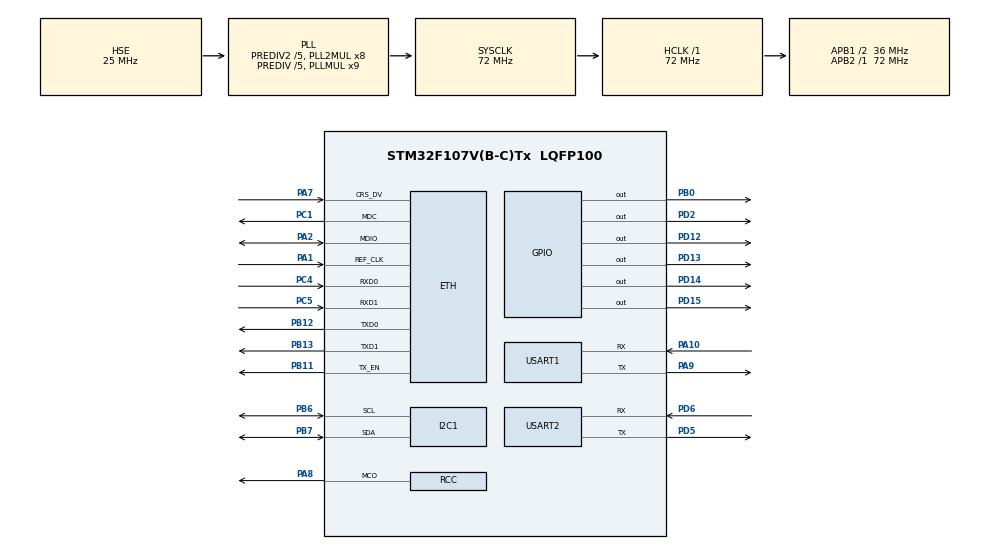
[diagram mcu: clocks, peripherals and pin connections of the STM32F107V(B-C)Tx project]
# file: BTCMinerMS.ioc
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ETH.MediaInterface=ETH_MEDIA_INTERFACE_RMII
Mcu.Family=STM32F1
Mcu.Name=STM32F107V(B-C)Tx
Mcu.Package=LQFP100
NVIC.PriorityGroup=NVIC_PRIORITYGROUP_4
OSC_IN.Mode=HSE-External-Oscillator
OSC_IN.Signal=RCC_OSC_IN
OSC_OUT.Mode=HSE-External-Oscillator
OSC_OUT.Signal=RCC_OSC_OUT
PA1.Mode=RMII
PA1.Signal=ETH_REF_CLK
PA10.Mode=Asynchronous
PA10.Signal=USART1_RX
PA13.Mode=Serial_Wire
PA13.Signal=SYS_JTMS-SWDIO
PA14.Mode=Serial_Wire
PA14.Signal=SYS_JTCK-SWCLK
PA2.Mode=RMII
PA2.Signal=ETH_MDIO
PA8.Mode=Clock-out
PA8.Signal=RCC_MCO
PA9.Mode=Asynchronous
PA9.Signal=USART1_TX
PB0.Signal=GPIO_Output
PB11.Mode=RMII
PB11.Signal=ETH_TX_EN
PB12.Mode=RMII
PB12.Signal=ETH_TXD0
PB13.Mode=RMII
PB13.Signal=ETH_TXD1
PB6.Mode=I2C
PB6.Signal=I2C1_SCL
PB7.Mode=I2C
PB7.Signal=I2C1_SDA
PC1.Mode=RMII
PC1.Signal=ETH_MDC
PC14-OSC32_IN.Mode=LSE-External-Oscillator
PC14-OSC32_IN.Signal=RCC_OSC32_IN
PC15-OSC32_OUT.Mode=LSE-External-Oscillator
PC15-OSC32_OUT.Signal=RCC_OSC32_OUT
PA7.Mode=RMII
PA7.Signal=ETH_CRS_DV
PD12.Signal=GPIO_Output
PD13.Signal=GPIO_Output
PD14.Signal=GPIO_Output
PD15.Signal=GPIO_Output
PD2.Signal=GPIO_Output
PD5.Mode=Asynchronous
PD5.Signal=USART2_TX
PD6.Mode=Asynchronous
PD6.Signal=USART2_RX
PC4.Mode=RMII
PC4.Signal=ETH_RXD0
PC5.Mode=RMII
PC5.Signal=ETH_RXD1
ProjectManager.HeapSize=0x200
ProjectManager.StackSize=0x400
ProjectManager.TargetToolchain=MDK-ARM V5
RCC.AHBFreq_Value=72000000
RCC.APB1CLKDivider=RCC_HCLK_DIV2
RCC.APB1Freq_Value=36000000
RCC.APB1TimFreq_Value=72000000
RCC.APB2Freq_Value=72000000
RCC.APB2TimFreq_Value=72000000
RCC.HCLKFreq_Value=72000000
RCC.HSEDivPLL=RCC_HSE_PREDIV_DIV5
RCC.HSE_VALUE=25000000
RCC.PLL3Mul=RCC_PLLI2S_MUL10
RCC.PLLMUL=RCC_PLL_MUL9
RCC.PLLSourceVirtual=RCC_PLLSOURCE_HSE
RCC.Prediv1Source=RCC_PREDIV1_SOURCE_PLL2
RCC.Prediv2=RCC_HSE_PREDIV2_DIV5
RCC.RCC_MCOSource=RCC_MCO1SOURCE_PLL3CLK
RCC.SYSCLKFreq_VALUE=72000000
RCC.SYSCLKSource=RCC_SYSCLKSOURCE_PLLCLK
RCC.USBFreq_Value=48000000
USART1.VirtualMode=VM_ASYNC
USART2.VirtualMode=VM_ASYNC
board=custom

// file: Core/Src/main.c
/* USER CODE BEGIN Header */
/**
  ******************************************************************************
  * @file           : main.c
  * @brief          : Main program body
  ******************************************************************************
  */
/* USER CODE END Header */
#include "main.h"

/* USER CODE BEGIN Includes */
#include "bm1366.h"
#include "protocol.h"
#include "eth_drv.h"
#include "eth_netif.h"
#include "lwip_eth.h"
#include "debug_serial.h"
#include "Delay.h"
#include "tps546d24a.h"
#include "tmp1075.h"
#include <string.h>
#include <stdio.h>
/* USER CODE END Includes */

/* USER CODE BEGIN PD */
#define STATUS_LED_PIN   GPIO_PIN_13
#define STATUS_LED_PORT  GPIOC
#define ASIC_BOOT_PIN    GPIO_PIN_1
#define ASIC_BOOT_PORT   GPIOB
#define ASIC_CTRL_PIN    GPIO_PIN_14
#define ASIC_CTRL_PORT   GPIOB

/* USER CODE END PD */

ETH_HandleTypeDef heth;

I2C_HandleTypeDef hi2c1;

UART_HandleTypeDef huart1;
UART_HandleTypeDef huart2;

/* USER CODE BEGIN PV */

/* ===== Application Config (edit to match your network) ===== */
/* MAC: last 3 bytes are derived at runtime from the board UID (see main()),
   so every board gets a unique MAC for multi-board deployments. The values
   below are just the initial placeholder, overwritten before eth_init(). */
#define CFG_MAC0   0x02   /* locally administered, unicast */
#define CFG_MAC1   0x08
#define CFG_MAC2   0xDC
#define CFG_MAC3   0xAB
#define CFG_MAC4   0xCD
#define CFG_MAC5   0xEF

/* IPv4 address/g+ateway/netmask are obtained via DHCP at runtime
   (see eth_drv.c eth_init -> dhcp_start). The board's own IP is no
   longer statically configured. */

#define CFG_LOCAL_PORT   6000

/* Host PC running BTCMinerControl (HostServices board listener on PC_PORT).
   Board's own IP is obtained via DHCP, so only the server address is static. */
#define PC_IP0     10
#define PC_IP1     8
#define PC_IP2     1
#define PC_IP3     3
#define PC_PORT    4200

#define BM1366_EXPECTED_COUNT  6    /* 最大支持 6 颗 ASIC 链式探测与初始化 */
#define BM1366_TARGET_FREQ_MHZ 100.0f  /* 默认 ASIC 基础安全工作频率 (200MHz) */
/* TPS546D24A 已弃用：供电已更换为独立免配置电源。
   相关 PMBus 配置宏已关闭，保留 TMP1075 板载温度检测。 */
#define TPS546_ENABLED             0
#define BM1366_CORE_VOLTAGE_MV     1200U
/* Bench-test switch: allow a received PC job to reach USART1 even when the
   chip probe finds no BM1366. Disable this on production firmware if desired. */
#define BM1366_UART_TEST_WITHOUT_ASIC  1
/* When 0, parsed PC jobs are logged but NOT forwarded to the ASIC (bring-up:
   detect chips and report the count without hashing). Flip to 1 to start
   dispatching real work. */
#define BM1366_DISPATCH_JOBS  1

/* 开启终端串口 Nonce 结果实时打印输出 */
#define BM1366_LOG_RESULTS    1

#define FW_VERSION_MAJOR  2
#define FW_VERSION_MINOR  6
#define FW_VERSION        ((FW_VERSION_MAJOR << 8) | FW_VERSION_MINOR)
/* Board ID: read at runtime from the STM32F107 96-bit unique device ID (UID)
   at 0x1FFFF7E8. We use the low 64 bits (UID words 0 and 1). */

/* ===== Global Variables ===== */
volatile uint32_t g_ms = 0;
static int  asic_ready    = 0;
static int  connected     = 0;
static uint64_t BOARD_ID  = 0;   /* set from STM32F107 UID at runtime */
static uint32_t active_job_version = 0;  /* base version of current job (for nonce version-rolling) */
static uint32_t active_version_mask = 0x1FFFE000U;  /* chip mask; updated by host command */
static uint32_t job_versions[16] = {0};  /* base version per BM1366 job slot (job_id>>3) */
static protocol_job_t last_job;          /* re-sent after an ASIC frequency change */
static int last_job_valid = 0;

static eth_config_t eth_cfg = {
    .mac = {CFG_MAC0, CFG_MAC1, CFG_MAC2, CFG_MAC3, CFG_MAC4, CFG_MAC5},
    .local_port = CFG_LOCAL_PORT
};

static uint8_t pc_ip_arr[4] = {PC_IP0, PC_IP1, PC_IP2, PC_IP3};
static uint8_t net_rx_buf[2048];
static uint16_t net_rx_buffered = 0;

static uint32_t last_reconnect = 0;
static uint32_t last_hello = 0;
static uint32_t last_sensor_probe = 0;
static uint32_t last_telemetry_sample = 0;
static tps546d24a_t tps546d24a;
static tmp1075_t tmp1075;
static uint8_t tps_detected = 0;
static uint8_t tmp_detected = 0;
static uint8_t tps_reported_state = 0xFFU;
static uint8_t tmp_reported_state = 0xFFU;
static uint8_t tps_desired_enabled = 1;
static protocol_telemetry_t board_telemetry;

/* USER CODE END PV */

void SystemClock_Config(void);
static void MX_GPIO_Init(void);
static void MX_ETH_Init(void);
static void MX_I2C1_Init(void);
static void MX_USART1_UART_Init(void);
static void MX_USART2_UART_Init(void);
/* USER CODE BEGIN PFP */

/* Extra GPIO init for pins not handled by CubeMX */
static void MX_GPIO_Init_Ext(void);

/* Board hello / nonce send / TCP recv helpers */
static void send_board_hello(void);
static void send_board_telemetry(void);
static void probe_i2c_devices(void);
static void sample_i2c_telemetry(void);
static void check_bm1366_results(void);
static void receive_tcp_data(void);

/* USER CODE END PFP */

int main(void)
{

  /* MCU Configuration--------------------------------------------------------*/

  /* Reset of all peripherals, Initializes the Flash interface and the Systick. */
  HAL_Init();

  /* Configure the system clock */
  SystemClock_Config();

  /* USER CODE BEGIN SysInit */
  /* Early LED blink: 1 slow blink = clock init OK (before USART2 is ready) */
  {
    __HAL_RCC_GPIOC_CLK_ENABLE();
    GPIO_InitTypeDef early_led = {0};
    early_led.Pin = STATUS_LED_PIN;
    early_led.Mode = GPIO_MODE_OUTPUT_PP;
    early_led.Pull = GPIO_NOPULL;
    early_led.Speed = GPIO_SPEED_FREQ_LOW;
    HAL_GPIO_Init(STATUS_LED_PORT, &early_led);
    HAL_GPIO_WritePin(STATUS_LED_PORT, STATUS_LED_PIN, GPIO_PIN_RESET);
    HAL_Delay(200);
    HAL_GPIO_WritePin(STATUS_LED_PORT, STATUS_LED_PIN, GPIO_PIN_SET);
    HAL_Delay(200);
    HAL_GPIO_WritePin(STATUS_LED_PORT, STATUS_LED_PIN, GPIO_PIN_RESET);
    HAL_Delay(200);
    HAL_GPIO_WritePin(STATUS_LED_PORT, STATUS_LED_PIN, GPIO_PIN_SET);
  }
  /* USER CODE END SysInit */

  /* Initialize all configured peripherals */
  MX_GPIO_Init();
  MX_GPIO_Init_Ext();
  /* ETH and I2C are initialized after the PHY diagnostics below. Calling
     MX_ETH_Init here can hang before diagnostics when REF_CLK is absent. */
  MX_USART1_UART_Init();
  MX_USART2_UART_Init();
  /* USER CODE BEGIN 2 */
  /* ---- Quick diagnostics: USART2 should be alive now ---- */
  /* Raw byte test: write 'U' directly to USART2 DR (bypasses HAL) */
  USART2->DR = 'U';
  while (!(USART2->SR & USART_SR_TC)) {}
  USART2->DR = '\r';
  while (!(USART2->SR & USART_SR_TC)) {}
  USART2->DR = '\n';
  while (!(USART2->SR & USART_SR_TC)) {}

  printf("\r\n===== USART2 OK - DIAG START =====\r\n");

  /* Clock diagnostics */
  printf("[DIAG] HSE_VALUE=%lu Hz\r\n", (unsigned long)HSE_VALUE);
  printf("[DIAG] SystemCoreClock=%lu Hz\r\n", (unsigned long)SystemCoreClock);
  printf("[DIAG] PCLK1=%lu Hz (USART2 clk)\r\n", (unsigned long)HAL_RCC_GetPCLK1Freq());
  printf("[DIAG] PCLK2=%lu Hz (USART1 clk)\r\n", (unsigned long)HAL_RCC_GetPCLK2Freq());
  printf("[DIAG] huart2.gState=%d (expect 0x20=READY)\r\n", (int)huart2.gState);

  /* Board ID = STM32F107 96-bit unique device ID (UID @ 0x1FFFF7E8), low 64 bits */
  BOARD_ID = ((uint64_t)(*(uint32_t*)(UID_BASE + 4U)) << 32) | *(uint32_t*)UID_BASE;
  printf("[DIAG] Board ID (UID): 0x%08lX%08lX\r\n",
         (unsigned long)(BOARD_ID >> 32), (unsigned long)BOARD_ID);

  /* Derive a unique MAC per board from the UID so multiple boards can coexist
     on the same L2 segment (50-board deployment). 0x02 = locally administered,
     unicast; last 3 bytes from the UID -> unique per chip. */
  eth_cfg.mac[0] = 0x02;
  eth_cfg.mac[1] = 0x08;
  eth_cfg.mac[2] = 0xDC;
  eth_cfg.mac[3] = (uint8_t)((BOARD_ID >> 56) & 0xFF);  /* UID word1 (wafer Y coord) */
  eth_cfg.mac[4] = (uint8_t)((BOARD_ID >> 48) & 0xFF);
  eth_cfg.mac[5] = (uint8_t)((BOARD_ID >> 40) & 0xFF);

  /* MCO/PLL3 check: PA8 (MCO) should output 50 MHz from PLL3 -> DP83848.
     If PLL3 isn't locked or MCO source isn't PLL3, PA8 is dead -> no clock
     to PHY/MAC -> MX_ETH_Init hangs on the DMA SWR (link stays DOWN too). */
  {
    uint32_t to = 200000;
    while (!__HAL_RCC_GET_FLAG(RCC_FLAG_PLLI2SRDY) && --to);
    int p3 = __HAL_RCC_GET_FLAG(RCC_FLAG_PLLI2SRDY) ? 1 : 0;
    uint32_t mco = (RCC->CFGR >> 24) & 0x0FU;
    printf("[CLK] PLL3(PLLI2S)ready=%d  RCC_CR=0x%08lX  RCC_CFGR=0x%08lX\r\n",
           p3, (unsigned long)RCC->CR, (unsigned long)RCC->CFGR);
    printf("[CLK] MCO[27:24]=0x%X (0xD=PLL3CLK 50MHz)  CFGR2=0x%08lX "
           "(PREDIV2[7:4]=0x%lX expect 4=div5, PLL3MUL[15:12]=0x%lX expect 8=x10)\r\n",
           (unsigned int)mco, (unsigned long)RCC->CFGR2,
           (unsigned long)((RCC->CFGR2 >> 4) & 0xFU),
           (unsigned long)((RCC->CFGR2 >> 12) & 0xFU));
  }

  /* STATUS LED blink: 3 fast blinks = USART init done */
  for (int i = 0; i < 3; i++) {
    HAL_GPIO_WritePin(STATUS_LED_PORT, STATUS_LED_PIN, GPIO_PIN_RESET);
    HAL_Delay(80);
    HAL_GPIO_WritePin(STATUS_LED_PORT, STATUS_LED_PIN, GPIO_PIN_SET);
    HAL_Delay(80);
  }

  /* ---- Probe PHY via MDIO BEFORE HAL_ETH_Init ----
     On this board PD2 no longer resets the DP83848 (the PHY resets with the
     MCU), so toggling PD2 is a no-op. HAL_ETH_Init's first step is a DMA
     software reset (DMABMR.SWR) that only self-clears while the 50 MHz
     REF_CLK (PHY -> PA1) is present; if REF_CLK is absent the SWR times out
     (HAL_TIMEOUT) and MX_ETH_Init -> Error_Handler hangs. MDIO (MDC/MDIO)
     does NOT need REF_CLK -- only the ETH peripheral clock -- so we can talk
     to the PHY here, before the DMA-SWR gate, to see whether it's alive and
     what mode it's strapped into. */
  printf("[DIAG] MDIO probe of PHY @0x01...\r\n");
  {
    __HAL_RCC_ETH_CLK_ENABLE();
    GPIO_InitTypeDef gi = {0};
    gi.Mode = GPIO_MODE_AF_PP; gi.Speed = GPIO_SPEED_FREQ_HIGH;
    gi.Pin = GPIO_PIN_1;  HAL_GPIO_Init(GPIOC, &gi);   /* MDC  = PC1 */
    gi.Pin = GPIO_PIN_2;  HAL_GPIO_Init(GPIOA, &gi);   /* MDIO = PA2 */
    uint16_t bcr  = ETH_ReadPHYRegister(0x01, 0x00);
    uint16_t bsr  = ETH_ReadPHYRegister(0x01, 0x01);
    uint16_t id1  = ETH_ReadPHYRegister(0x01, 0x02);
    uint16_t id2  = ETH_ReadPHYRegister(0x01, 0x03);
    uint16_t phys = ETH_ReadPHYRegister(0x01, 0x10);
    uint16_t s18  = ETH_ReadPHYRegister(0x01, 0x18);
    uint16_t s19  = ETH_ReadPHYRegister(0x01, 0x19);
    printf("[PHYPROBE] BCR=0x%04X BSR=0x%04X ID=0x%04X:0x%04X (exp 0x2000:0x5C90)\r\n",
           bcr, bsr, id1, id2);
    printf("[PHYPROBE] PHYSTS(0x10)=0x%04X STRAP18=0x%04X STRAP19=0x%04X\r\n",
           phys, s18, s19);
    printf("[PHYPROBE] link=%s  (ID=0xFFFF/0x0000 -> PHY not responding; check 25MHz xtal, MDIO wiring, PHY addr)\r\n",
           (bsr & 0x0004) ? "UP" : "DOWN");
  }

  /* Give the PHY time after MCU reset to emit a stable REF_CLK on PA1 */
  HAL_Delay(300);

  /* ---- Now init ETH ---- */
  printf("[DIAG] About to init ETH...\r\n");
  MX_ETH_Init();
  printf("[DIAG] ETH HAL init done\r\n");

  printf("[DIAG] About to init I2C...\r\n");
  MX_I2C1_Init();
  printf("[DIAG] I2C init done\r\n");

  tps546d24a_init(&tps546d24a, &hi2c1);
  tmp1075_init(&tmp1075, &hi2c1);
  probe_i2c_devices();
  sample_i2c_telemetry();
  last_sensor_probe = HAL_GetTick();
  last_telemetry_sample = last_sensor_probe;

  /* ?? network banner */
  printf("[NET] MAC: %02X:%02X:%02X:%02X:%02X:%02X\r\n",
         eth_cfg.mac[0], eth_cfg.mac[1], eth_cfg.mac[2],
         eth_cfg.mac[3], eth_cfg.mac[4], eth_cfg.mac[5]);
  printf("[NET] IP: DHCP (acquired at runtime)\r\n");
  printf("[NET] Server: %d.%d.%d.%d:%d\r\n", PC_IP0, PC_IP1, PC_IP2, PC_IP3, PC_PORT);

  /* SysTick for g_ms (HAL already started SysTick) */
  extern volatile uint32_t g_ms;
  g_ms = HAL_GetTick();

  printf("\r\n========================================\r\n");
  printf("  BTCMinerMS F107VCT6 + DP83848\r\n");
  printf("  FW v%d.%d\r\n", FW_VERSION_MAJOR, FW_VERSION_MINOR);
  printf("========================================\r\n");
  printf("[SYS] ETH init...\r\n");
  if (!eth_init(&eth_cfg)) {
    printf("[ERR] ETH init FAILED!\r\n");
    while (1) { HAL_Delay(300); }
  }
  printf("[SYS] ETH OK\r\n");
  eth_print_phy_status();

#if BM1366_EXPECTED_COUNT > 0
  printf("[SYS] BM1366 init...\r\n");
  bm1366_uart_init();
  HAL_Delay(500);
  int chips = bm1366_init_chips(BM1366_EXPECTED_COUNT, BM1366_TARGET_FREQ_MHZ);
  asic_ready = (chips > 0) ? chips : 0;
  printf("[SYS] BM1366: %d/%d chip(s) detected\r\n", chips, BM1366_EXPECTED_COUNT);
  printf("[SYS] Job dispatch: %s\r\n", BM1366_DISPATCH_JOBS ? "ENABLED" : "DISABLED (bring-up)");
#else
  asic_ready = 0;
  printf("[SYS] BM1366 disabled (ETH test mode)\r\n");
#endif
  /* USER CODE END 2 */

  /* Infinite loop */
  /* USER CODE BEGIN WHILE */
  static uint32_t last_led_toggle = 0;
  static uint32_t last_status     = 0;
  (void)last_reconnect; (void)last_hello;   /* file-scope static */

  while (1) {
    uint32_t now = HAL_GetTick();

    /* Drive the local 'connected' flag off the real TCP state in eth_drv.
       eth_connect() returns 0 right after issuing the (async) connect, and
       the link can drop (tcp_client_err / recv p==NULL) without main ever
       seeing it -- so a separate flag desyncs and we never reconnect. */
    {
      int net_ok = eth_is_connected();
      if (net_ok && !connected) {
        connected = 1;
        net_rx_buffered = 0;
        printf("[NET] TCP OK\r\n");
        send_board_hello();
        send_board_telemetry();
      } else if (!net_ok && connected) {
        connected = 0;
        net_rx_buffered = 0;
        eth_rx_flush();
        printf("[NET] TCP down, will retry\r\n");
      }
    }

    if (!connected && eth_has_ip() && (now - last_reconnect) > 1000) {
      last_reconnect = now;
      printf("[NET] Connecting %d.%d.%d.%d:%d...\r\n",
             PC_IP0, PC_IP1, PC_IP2, PC_IP3, PC_PORT);
      eth_connect(pc_ip_arr, PC_PORT);
    }

    eth_poll();
    receive_tcp_data();
    check_bm1366_results();

    /* Periodic ASIC health poll: alternate reading Chip ID (0x00) and Total Hash Count (0x8C)
       from each chip individually so they never collide on the return path. */
    static uint32_t last_chip_poll = 0;
    if (asic_ready && (now - last_chip_poll) >= 5000U) {
        last_chip_poll = now;
        static uint8_t poll_phase = 0;
        uint8_t count = bm1366_get_chip_count();
        if (count > 0) {
            uint8_t chip_idx = (poll_phase / 2) % count;
            uint8_t reg = (poll_phase % 2 == 0) ? 0x8C : 0x00;
            bm1366_read_chip_register(chip_idx, reg);
            poll_phase++;
        }
    }

    /* TPS/sensor detection poll: every 10 s in every state, so a
       slow-starting or hot-plugged power module is (re)discovered and
       configured within 10 s - not only when nothing was detected. */
    if ((now - last_sensor_probe) >= 10000U) {
      last_sensor_probe = now;
      probe_i2c_devices();
    }

    if ((now - last_telemetry_sample) >= 2000U) {
      last_telemetry_sample = now;
      sample_i2c_telemetry();
      if (connected) send_board_telemetry();
    }

  if (connected && (now - last_hello) > 20000) {   /* 20s keepalive hello (was 60s -- server closed on idle) */
      last_hello = now;
      send_board_hello();
  }

    /* ? 30s ???????? */
    if ((now - last_status) > 10000) {
        uint8_t ip[4];
        last_status = now;
        eth_get_ip(ip);
        printf("\r\n[STATUS] up=%lus  ip=%u.%u.%u.%u  eth=%s  bm1366=%s  chips=%d  link=%s\r\n"
               "         ETH: rx=%lu tx=%lu | UART1: rx_total=%lu bad_pre=%lu bad_crc=%lu FE=%u ORE=%u\r\n",
               (unsigned long)(now / 1000),
               ip[0], ip[1], ip[2], ip[3],
               connected ? "CONN" : "WAIT",
               asic_ready ? "OK" : "OFF",
               asic_ready ? bm1366_get_chip_count() : 0,
               eth_link_status() ? "UP" : "DOWN",
               (unsigned long)eth_netif_get_rx_count(),
               (unsigned long)eth_netif_get_tx_count(),
               (unsigned long)bm1366_get_rx_total(),
               (unsigned long)bm1366_get_bad_preamble(),
               (unsigned long)bm1366_get_bad_crc(),
               (unsigned int)bm1366_get_frame_errors(),
               (unsigned int)bm1366_get_overruns());
        if ((now % 30000) < 1000) eth_netif_reset_counts();  /* reset every 30s */
    }
    if ((now - last_led_toggle) > 500) {
        last_led_toggle = now;
        if (connected) {
            HAL_GPIO_WritePin(STATUS_LED_PORT, STATUS_LED_PIN, GPIO_PIN_RESET);
        } else {
            HAL_GPIO_TogglePin(STATUS_LED_PORT, STATUS_LED_PIN);
        }
    }

    /* Do not delay here. Ethernet RX is polled, so even a 1 ms sleep adds
       directly to ICMP and host-to-board command latency. */
  }  /* while(1) */

  /* Prevent watchdog-like reset */;
    /* USER CODE END WHILE */

}

void SystemClock_Config(void)
{
  RCC_OscInitTypeDef RCC_OscInitStruct = {0};
  RCC_ClkInitTypeDef RCC_ClkInitStruct = {0};

  /** Initializes the RCC Oscillators according to the specified parameters
  * in the RCC_OscInitTypeDef structure.
  */
  RCC_OscInitStruct.OscillatorType = RCC_OSCILLATORTYPE_HSE;
  RCC_OscInitStruct.HSEState = RCC_HSE_ON;
  RCC_OscInitStruct.HSEPredivValue = RCC_HSE_PREDIV_DIV5;
  RCC_OscInitStruct.HSIState = RCC_HSI_ON;
  RCC_OscInitStruct.Prediv1Source = RCC_PREDIV1_SOURCE_PLL2;
  RCC_OscInitStruct.PLL.PLLState = RCC_PLL_ON;
  RCC_OscInitStruct.PLL.PLLSource = RCC_PLLSOURCE_HSE;
  RCC_OscInitStruct.PLL.PLLMUL = RCC_PLL_MUL9;
  RCC_OscInitStruct.PLL2.PLL2State = RCC_PLL2_ON;
  RCC_OscInitStruct.PLL2.PLL2MUL = RCC_PLL2_MUL8;
  RCC_OscInitStruct.PLL2.HSEPrediv2Value = RCC_HSE_PREDIV2_DIV5;
  if (HAL_RCC_OscConfig(&RCC_OscInitStruct) != HAL_OK)
  {
    Error_Handler();
  }

  /** Initializes the CPU, AHB and APB buses clocks
  */
  RCC_ClkInitStruct.ClockType = RCC_CLOCKTYPE_HCLK|RCC_CLOCKTYPE_SYSCLK
                              |RCC_CLOCKTYPE_PCLK1|RCC_CLOCKTYPE_PCLK2;
  RCC_ClkInitStruct.SYSCLKSource = RCC_SYSCLKSOURCE_PLLCLK;
  RCC_ClkInitStruct.AHBCLKDivider = RCC_SYSCLK_DIV1;
  RCC_ClkInitStruct.APB1CLKDivider = RCC_HCLK_DIV2;
  RCC_ClkInitStruct.APB2CLKDivider = RCC_HCLK_DIV1;

  if (HAL_RCC_ClockConfig(&RCC_ClkInitStruct, FLASH_LATENCY_2) != HAL_OK)
  {
    Error_Handler();
  }
  HAL_RCC_MCOConfig(RCC_MCO, RCC_MCO1SOURCE_PLL3CLK, RCC_MCODIV_1);

  /** Configure the Systick interrupt time
  */
  __HAL_RCC_HSE_PREDIV2_CONFIG(RCC_HSE_PREDIV2_DIV5);

  /** Configure the Systick interrupt time
  */
  __HAL_RCC_PLLI2S_CONFIG(RCC_PLLI2S_MUL10);

  /** Configure the Systick interrupt time
  */
  __HAL_RCC_PLLI2S_ENABLE();

  /* Wait for PLL3 lock (feeds MCO/PA8 -> PHY X1 + REF_CLK). Without this,
     MCO can output an unlocked-PLL garbage clock right when MX_ETH_Init
     starts. */
  {
    uint32_t timeout = 0xFFFFU;
    while (!__HAL_RCC_GET_FLAG(RCC_FLAG_PLLI2SRDY) && --timeout);
    if (timeout == 0U) {
      printf("[CLK] ERROR: PLL3 did not lock; MCO will not output 50MHz\r\n");
    }
  }
}

static void MX_ETH_Init(void)
{

   static uint8_t MACAddr[6];

  heth.Instance = ETH;
  heth.Init.AutoNegotiation = ETH_AUTONEGOTIATION_ENABLE;
  heth.Init.Speed = ETH_SPEED_100M;
  heth.Init.DuplexMode = ETH_MODE_FULLDUPLEX;
  heth.Init.PhyAddress = LAN8742A_PHY_ADDRESS;
  MACAddr[0] = 0x00;
  MACAddr[1] = 0x80;
  MACAddr[2] = 0xE1;
  MACAddr[3] = 0x00;
  MACAddr[4] = 0x00;
  MACAddr[5] = 0x00;
  heth.Init.MACAddr = &MACAddr[0];
  heth.Init.RxMode = ETH_RXPOLLING_MODE;
  heth.Init.ChecksumMode = ETH_CHECKSUM_BY_HARDWARE;
  heth.Init.MediaInterface = ETH_MEDIA_INTERFACE_RMII;

  if (HAL_ETH_Init(&heth) != HAL_OK)
  {
    Error_Handler();
  }

}

static void MX_I2C1_Init(void)
{

  hi2c1.Instance = I2C1;
  hi2c1.Init.ClockSpeed = 100000;
  hi2c1.Init.DutyCycle = I2C_DUTYCYCLE_2;
  hi2c1.Init.OwnAddress1 = 0;
  hi2c1.Init.AddressingMode = I2C_ADDRESSINGMODE_7BIT;
  hi2c1.Init.DualAddressMode = I2C_DUALADDRESS_DISABLE;
  hi2c1.Init.OwnAddress2 = 0;
  hi2c1.Init.GeneralCallMode = I2C_GENERALCALL_DISABLE;
  hi2c1.Init.NoStretchMode = I2C_NOSTRETCH_DISABLE;
  if (HAL_I2C_Init(&hi2c1) != HAL_OK)
  {
    Error_Handler();
  }

}

static void MX_USART1_UART_Init(void)
{

  huart1.Instance = USART1;
  huart1.Init.BaudRate = 115200;
  huart1.Init.WordLength = UART_WORDLENGTH_8B;
  huart1.Init.StopBits = UART_STOPBITS_1;
  huart1.Init.Parity = UART_PARITY_NONE;
  huart1.Init.Mode = UART_MODE_TX_RX;
  huart1.Init.HwFlowCtl = UART_HWCONTROL_NONE;
  huart1.Init.OverSampling = UART_OVERSAMPLING_16;
  if (HAL_UART_Init(&huart1) != HAL_OK)
  {
    Error_Handler();
  }

}

static void MX_USART2_UART_Init(void)
{

  huart2.Instance = USART2;
  huart2.Init.BaudRate = 115200;
  huart2.Init.WordLength = UART_WORDLENGTH_8B;
  huart2.Init.StopBits = UART_STOPBITS_1;
  huart2.Init.Parity = UART_PARITY_NONE;
  huart2.Init.Mode = UART_MODE_TX_RX;
  huart2.Init.HwFlowCtl = UART_HWCONTROL_NONE;
  huart2.Init.OverSampling = UART_OVERSAMPLING_16;
  if (HAL_UART_Init(&huart2) != HAL_OK)
  {
    Error_Handler();
  }

}

static void MX_GPIO_Init(void)
{
  GPIO_InitTypeDef GPIO_InitStruct = {0};

  /* GPIO Ports Clock Enable */
  __HAL_RCC_GPIOC_CLK_ENABLE();
  __HAL_RCC_GPIOA_CLK_ENABLE();
  __HAL_RCC_GPIOB_CLK_ENABLE();
  __HAL_RCC_GPIOD_CLK_ENABLE();

  /*Configure GPIO pin Output Level */
  HAL_GPIO_WritePin(GPIOB, GPIO_PIN_0, GPIO_PIN_RESET);

  /*Configure GPIO pin Output Level */
  HAL_GPIO_WritePin(GPIOD, GPIO_PIN_12|GPIO_PIN_13|GPIO_PIN_14|GPIO_PIN_15
                          |GPIO_PIN_2, GPIO_PIN_RESET);

  /*Configure GPIO pin : PB0 */
  GPIO_InitStruct.Pin = GPIO_PIN_0;
  GPIO_InitStruct.Mode = GPIO_MODE_OUTPUT_PP;
  GPIO_InitStruct.Pull = GPIO_NOPULL;
  GPIO_InitStruct.Speed = GPIO_SPEED_FREQ_LOW;
  HAL_GPIO_Init(GPIOB, &GPIO_InitStruct);

  /*Configure GPIO pins : PD12 PD13 PD14 PD15
                           PD2 */
  GPIO_InitStruct.Pin = GPIO_PIN_12|GPIO_PIN_13|GPIO_PIN_14|GPIO_PIN_15
                          |GPIO_PIN_2;
  GPIO_InitStruct.Mode = GPIO_MODE_OUTPUT_PP;
  GPIO_InitStruct.Pull = GPIO_NOPULL;
  GPIO_InitStruct.Speed = GPIO_SPEED_FREQ_LOW;
  HAL_GPIO_Init(GPIOD, &GPIO_InitStruct);

  /*Configure GPIO pin : PA8 */
  GPIO_InitStruct.Pin = GPIO_PIN_8;
  GPIO_InitStruct.Mode = GPIO_MODE_AF_PP;
  /* MCO outputs 50 MHz (PLL3): must use the 50MHz GPIO speed setting.
     LOW (2MHz-class slew) collapses the 50MHz waveform -- PA8 then shows
     garbage (was measured ~50kHz) and the PHY/MAC get no usable clock. */
  GPIO_InitStruct.Speed = GPIO_SPEED_FREQ_HIGH;
  HAL_GPIO_Init(GPIOA, &GPIO_InitStruct);

}

/* USER CODE BEGIN 4 */
/* ===== ?? GPIO ??? (CubeMX ??????) ===== */
static void MX_GPIO_Init_Ext(void)
{
    GPIO_InitTypeDef GPIO_InitStruct = {0};

    /* GPIO ???? MX_GPIO_Init ??? */

    /* PA8 MCO (50MHz) - re-assert 50MHz speed in case CubeMX regeneration
       restores the LOW-speed setting in MX_GPIO_Init. */
    GPIO_InitStruct.Pin = GPIO_PIN_8;
    GPIO_InitStruct.Mode = GPIO_MODE_AF_PP;
    GPIO_InitStruct.Pull = GPIO_NOPULL;
    GPIO_InitStruct.Speed = GPIO_SPEED_FREQ_HIGH;
    HAL_GPIO_Init(GPIOA, &GPIO_InitStruct);

    /* PA0 - 高阻 (浮空输入, 无上拉/下拉) */
    GPIO_InitStruct.Pin = GPIO_PIN_0;
    GPIO_InitStruct.Mode = GPIO_MODE_INPUT;
    GPIO_InitStruct.Pull = GPIO_NOPULL;
    HAL_GPIO_Init(GPIOA, &GPIO_InitStruct);

    /* PC13 - STATUS LED (????) */
    GPIO_InitStruct.Pin = STATUS_LED_PIN;
    GPIO_InitStruct.Mode = GPIO_MODE_OUTPUT_PP;
    GPIO_InitStruct.Pull = GPIO_NOPULL;
    GPIO_InitStruct.Speed = GPIO_SPEED_FREQ_LOW;
    HAL_GPIO_Init(STATUS_LED_PORT, &GPIO_InitStruct);
    HAL_GPIO_WritePin(STATUS_LED_PORT, STATUS_LED_PIN, GPIO_PIN_SET);  /* ??: ? */

    /* PB1 - ASIC_BOOT (??) */
    GPIO_InitStruct.Pin = ASIC_BOOT_PIN;
    GPIO_InitStruct.Mode = GPIO_MODE_OUTPUT_PP;
    GPIO_InitStruct.Pull = GPIO_NOPULL;
    GPIO_InitStruct.Speed = GPIO_SPEED_FREQ_LOW;
    HAL_GPIO_Init(ASIC_BOOT_PORT, &GPIO_InitStruct);
    HAL_GPIO_WritePin(ASIC_BOOT_PORT, ASIC_BOOT_PIN, GPIO_PIN_RESET);

    /* PB14 - ASIC_CTRL (??) */
    GPIO_InitStruct.Pin = ASIC_CTRL_PIN;
    GPIO_InitStruct.Mode = GPIO_MODE_OUTPUT_PP;
    GPIO_InitStruct.Pull = GPIO_NOPULL;
    GPIO_InitStruct.Speed = GPIO_SPEED_FREQ_LOW;
    HAL_GPIO_Init(ASIC_CTRL_PORT, &GPIO_InitStruct);
    HAL_GPIO_WritePin(ASIC_CTRL_PORT, ASIC_CTRL_PIN, GPIO_PIN_RESET);
}

static void send_frequency_status(void) {
    protocol_frequency_status_t freq;
    freq.target_mhz = bm1366_get_target_frequency();
    freq.actual_mhz = bm1366_get_actual_frequency();
    uint8_t buf[16];
    uint16_t len = protocol_encode_frequency_status(&freq, buf);
    if (len > 0) eth_send(buf, len);
}

static void apply_board_frequency(uint16_t target_mhz) {
    /* 暂时忽略上位机下发的频率调节命令，固定在安全可靠的基础频率 (200MHz)，
       防止多芯片在瞬间切到 485MHz 造成过载或失锁。向 host 如实反馈当前频率。 */
    printf("[FREQ] host request %u MHz -> IGNORED (locked at %u MHz for stability)\r\n",
           (unsigned int)target_mhz, (unsigned int)bm1366_get_actual_frequency());
    send_frequency_status();
}

static void send_board_hello(void) {
    protocol_hello_t hello = {
        .board_id = BOARD_ID,
        .fw_version = FW_VERSION,
        .asic_count = (uint8_t)asic_ready,
        .status = 0,
        .target_frequency_mhz = bm1366_get_target_frequency(),
        .actual_frequency_mhz = bm1366_get_actual_frequency()
    };
    uint8_t buf[64];
    uint16_t len = protocol_encode_hello(&hello, buf);
    if (len > 0) {
        /* TEMP: HELLO print silenced
        printf("[HELLO] board_id=0x%08X%08X asic=%d fw=%d.%d len=%d\r\n",
               (uint32_t)(BOARD_ID >> 32), (uint32_t)BOARD_ID,
               hello.asic_count, FW_VERSION_MAJOR, FW_VERSION_MINOR, len); */
        eth_send(buf, len);
    }
}

static void probe_i2c_devices(void) {
#if TPS546_ENABLED
    if (!tps_detected) {
        tps_detected = tps546d24a_probe(&tps546d24a);
        if (tps_detected) {
            tps546d24a_set_enabled(&tps546d24a, tps_desired_enabled);
        }
    }
#endif
    if (!tmp_detected) tmp_detected = tmp1075_probe(&tmp1075);
    if (tmp_reported_state != tmp_detected) {
        if (tmp_detected) {
            printf("[I2C] TMP1075 @0x%02X: detected\r\n", tmp1075.address);
        } else {
            printf("[I2C] TMP1075 @0x48-0x4F: not detected\r\n");
        }
        tmp_reported_state = tmp_detected;
    }
}

static void sample_i2c_telemetry(void) {
    tps546d24a_telemetry_t tps_data;
    int16_t tmp_temperature = 0;
    uint8_t tps_valid = 0;
    uint8_t tmp_valid = 0;

    memset(&board_telemetry, 0, sizeof(board_telemetry));
    if (tps_detected) {
        static uint16_t last_reported_tps_status = 0;
        tps_valid = tps546d24a_read_telemetry(&tps546d24a, &tps_data);
        if (tps_valid) {
            board_telemetry.vout_mv = tps_data.vout_mv;
            board_telemetry.iout_ma = tps_data.iout_ma;
            board_telemetry.power_mw = tps_data.power_mw;
            board_telemetry.tps_temperature_centi_c = tps_data.temperature_centi_c;
            board_telemetry.tps_status_word = tps_data.status_word;
            board_telemetry.power_enabled = tps_data.enabled;
            /* Report a newly-latched fault once (then clear) instead of
               letting stale bits persist in every telemetry frame. */
            if (tps_data.status_word != 0U &&
                tps_data.status_word != last_reported_tps_status) {
                printf("[TPS] fault: STATUS_WORD=0x%04X READ_VOUT=%u mV IOUT=%lu mA\r\n",
                       (unsigned int)tps_data.status_word,
                       (unsigned int)tps_data.vout_mv,
                       (unsigned long)tps_data.iout_ma);
                tps546d24a_clear_faults(&tps546d24a);
            }
            last_reported_tps_status =
                (tps_data.status_word == 0U) ? 0U : tps_data.status_word;
        } else if (!tps546d24a_probe(&tps546d24a)) {
            tps_detected = 0;
        }
    }

    if (tmp_detected) {
        tmp_valid = tmp1075_read_temperature(&tmp1075, &tmp_temperature);
        if (tmp_valid) {
            board_telemetry.tmp_temperature_centi_c = tmp_temperature;
        } else if (HAL_I2C_IsDeviceReady(&hi2c1,
                   (uint16_t)(tmp1075.address << 1), 1, 20) != HAL_OK) {
            tmp_detected = 0;
            tmp1075.address = 0;
        }
    }

    if (tps_detected) board_telemetry.flags |= TELEMETRY_FLAG_TPS_DETECTED;
    if (tmp_detected) board_telemetry.flags |= TELEMETRY_FLAG_TMP_DETECTED;
    if (tps_valid) board_telemetry.flags |= TELEMETRY_FLAG_TPS_VALID;
    if (tmp_valid) board_telemetry.flags |= TELEMETRY_FLAG_TMP_VALID;
    if (tps_valid) board_telemetry.flags |= TELEMETRY_FLAG_POWER_VALID;
    board_telemetry.tps_address = tps_detected ? tps546d24a.address : 0;
    board_telemetry.tmp_address = tmp_detected ? tmp1075.address : 0;
}

static void send_board_telemetry(void) {
    uint8_t buf[32];
    uint16_t len = protocol_encode_telemetry(&board_telemetry, buf);
    if (len > 0) eth_send(buf, len);
}

static void check_bm1366_results(void) {
    if (!asic_ready) return;

    /* Route every valid 11-byte UART frame: bit 7 set = nonce result,
       otherwise a command/register response. */
    bm1366_result_raw_t raw;
    while (bm1366_read_any_result(&raw, 0) > 0) {
        uint8_t *rp = (uint8_t *)&raw;
        printf("[RAWFRAME] %02X %02X %02X %02X %02X %02X %02X %02X %02X %02X %02X (flag=0x%02X)\r\n",
               rp[0], rp[1], rp[2], rp[3], rp[4], rp[5], rp[6], rp[7], rp[8], rp[9], rp[10], raw.crc_and_flags);

        if (raw.crc_and_flags & 0x80U) {
            /* 结果包解析:
               - parsed.nonce: 保持原始 wire 字节序 (小端 host 值)，上位机以 LE 直接拼入 80B 区块头第 76..79 字节
               - nonce_h: raw.nonce 即为小端主机值，MSB (bit 25..31) 包含 Core ID，bit 17..24 包含 ASIC 地址 */
            bm1366_result_t parsed = {0};
            uint32_t nonce_h = raw.nonce;
            uint16_t ver_h   = ((raw.version_raw & 0xFFU) << 8) | ((raw.version_raw >> 8) & 0xFFU);
            parsed.nonce        = raw.nonce;
            parsed.job_id       = raw.job_id_raw & 0xF8;
            parsed.small_core_id= raw.job_id_raw & 0x07;
            parsed.core_id      = (nonce_h >> 25) & 0x7F;
            uint8_t interval    = bm1366_get_address_interval();
            parsed.asic_nr      = (interval > 0) ? (((nonce_h >> 17) & 0xFF) / interval) : 0;
            {
                uint32_t job_version = job_versions[(parsed.job_id >> 3) & 0x0FU];
                if (job_version == 0) job_version = active_job_version;
                parsed.rolled_version = job_version | ((uint32_t)ver_h << 13);
            }
            printf("[NONCE] job_id=%d nonce=0x%08X (raw=0x%08X) core=%d small=%d asic=%d rolled_ver=0x%08X\r\n",
                   parsed.job_id, nonce_h, parsed.nonce, parsed.core_id, parsed.small_core_id, parsed.asic_nr, parsed.rolled_version);

            uint8_t buf[64];
            uint16_t len = protocol_encode_nonce(&parsed, BOARD_ID, buf);
            if (len > 0) {
                eth_send(buf, len);
                printf("[NET-NONCE] Forwarded %u bytes to Host\r\n", (unsigned int)len);
            }
            continue;
        } else {
            /* 寄存器读取回包解析:
               raw.midstate_num = asic_address (0x00, 0x80, ...)
               raw.job_id_raw   = register_address (0x00, 0x8C, ...)
               raw.nonce        = 32-bit register value */
            uint8_t asic_addr = raw.midstate_num;
            uint8_t reg_addr  = raw.job_id_raw;
            uint32_t val      = __REV(raw.nonce);
            uint8_t interval  = bm1366_get_address_interval();
            uint8_t asic_nr   = (interval > 0) ? (asic_addr / interval) : 0;
            printf("[CHIP-REG] asic=%u (addr=0x%02X) reg=0x%02X val=0x%08lX (%lu)\r\n",
                   (unsigned int)asic_nr, (unsigned int)asic_addr, (unsigned int)reg_addr,
                   (unsigned long)val, (unsigned long)val);
        }
    }
}

static void receive_tcp_data(void) {
    /* Never interpret stale bytes from a previous TCP connection as protocol
       frames. eth_rx_flush() clears the LwIP ring on disconnect; this guards
       the already-buffered application side during the transition loop. */
    if (!eth_is_connected()) {
        net_rx_buffered = 0;
        return;
    }

    int received = eth_recv(net_rx_buf + net_rx_buffered,
                            (uint16_t)(sizeof(net_rx_buf) - net_rx_buffered));
    if (received > 0) net_rx_buffered = (uint16_t)(net_rx_buffered + received);
    if (net_rx_buffered == 0) return;

    /* A single TCP segment may carry several protocol frames back-to-back,
       and they were already ACKed to lwIP inside eth_recv -- so we must walk
       the whole buffer, not just the first frame, or we silently lose the
       rest. The wire format is [4B big-endian total][1B type][payload],
       so the payload begins at offset 5 of each frame. */
    uint16_t off = 0;
    while (off + 4 <= net_rx_buffered) {
        uint16_t frame_len, payload_len;
        uint8_t type = protocol_peek_frame(net_rx_buf + off, net_rx_buffered - off,
                                           &frame_len, &payload_len);
        if (frame_len == 0xFFFFU) {
            printf("[TCP] Invalid frame length; dropping buffered stream\r\n");
            net_rx_buffered = 0;
            return;
        }
        if (type == 0) break;                                  /* incomplete: preserve it */

        const uint8_t *payload = net_rx_buf + off + 5;
        if (type != MSG_LATENCY_PROBE) {
            /* printf("[TCP] type=0x%02X frame=%d payload=%d\r\n", type, frame_len, payload_len); TEMP: quiet */
        }

        switch (type) {
            case MSG_JOB: {
                protocol_job_t job;
                if (protocol_decode_job(payload, payload_len, &job) > 0) {
                    memcpy(&last_job, &job, sizeof(last_job));
                    last_job_valid = 1;
                    active_job_version = job.version;   /* track for nonce version-rolling */
                    job_versions[(job.job_id >> 3) & 0x0FU] = job.version;
                    printf("[JOB] id=%d midstates=%d version=0x%08X nbits=0x%08X ntime=0x%08X nonce_start=0x%08X\r\n",
                           job.job_id, job.num_midstates, job.version,
                           job.nbits, job.ntime, job.starting_nonce);
                    if (BM1366_DISPATCH_JOBS && (asic_ready || BM1366_UART_TEST_WITHOUT_ASIC)) {
                        bm1366_send_job(&job);
                        if (!asic_ready) printf("[UART1-TEST] Job forwarded without ASIC\r\n");
                    }
                    /* else: BM1366_DISPATCH_JOBS=0 -> job parsed/logged above but not forwarded (bring-up) */
                }
                break;
            }
            case MSG_SET_PARAMS: {
                protocol_setparams_t params;
                if (protocol_decode_setparams(payload, payload_len, &params) > 0) {
                    printf("[PARAM] freq=%d MHz voltage=%d mV\r\n",
                           params.freq_mhz, params.voltage_mv);
                    apply_board_frequency(params.freq_mhz);
                    /* Voltage now actually applied (was ignored before).
                       tps546d24a_set_vout_mv enforces the 1000..2000 mV
                       window configured at boot. */
                    if (tps_detected &&
                        !tps546d24a_set_vout_mv(&tps546d24a,
                                                (uint16_t)params.voltage_mv)) {
                        printf("[PARAM] voltage %d mV rejected (range 1000-2000)\r\n",
                               params.voltage_mv);
                    }
                }
                break;
            }

            case MSG_SET_FREQUENCY: {
                protocol_set_frequency_t freq;
                if (protocol_decode_set_frequency(payload, payload_len, &freq) > 0) {
                    apply_board_frequency(freq.frequency_mhz);
                }
                break;
            }
            case MSG_SET_VERSION_MASK: {
                protocol_version_mask_t mask;
                if (protocol_decode_version_mask(payload, payload_len, &mask) > 0) {
                    active_version_mask = mask.version_mask;
                    if (asic_ready) bm1366_set_version_mask(active_version_mask);
                    printf("[MASK] version mask set to 0x%08X\r\n", (unsigned int)active_version_mask);
                }
                break;
            }

            case MSG_SET_POWER: {
                protocol_setpower_t power;
                uint8_t reply[64];
                uint16_t reply_len;
                if (!protocol_decode_setpower(payload, payload_len, &power)) {
                    reply_len = protocol_encode_error(0x20, "invalid power command", reply);
#if TPS546_ENABLED
                } else if (!tps_detected) {
                    reply_len = protocol_encode_error(0x21, "TPS546D24A not detected", reply);
                } else if (!tps546d24a_set_enabled(&tps546d24a, power.enabled)) {
                    reply_len = protocol_encode_error(0x22, "TPS546D24A power command failed", reply);
#endif
                } else {
                    tps_desired_enabled = power.enabled;
                    printf("[POWER] power state -> %s\r\n", power.enabled ? "ON" : "OFF");
                    sample_i2c_telemetry();
                    send_board_telemetry();
                    reply_len = protocol_encode_ack(MSG_SET_POWER, reply);
                }
                if (reply_len > 0) eth_send(reply, reply_len);
                break;
            }
            case MSG_LATENCY_PROBE: {
                protocol_latency_t latency;
                uint8_t reply[16];
                if (protocol_decode_latency(payload, payload_len, &latency)) {
                    uint16_t reply_len = protocol_encode_latency(&latency, reply);
                    if (reply_len > 0) eth_send(reply, reply_len);
                }
                break;
            }
            default:
                printf("[TCP] Unknown type 0x%02X, hex:", type);
                for (uint16_t i = 0; i < (payload_len > 16 ? 16 : payload_len); i++)
                    printf(" %02X", payload[i]);
                printf("\r\n");
                break;
        }

        off += frame_len;
    }

    if (off > 0) {
        net_rx_buffered = (uint16_t)(net_rx_buffered - off);
        if (net_rx_buffered > 0) memmove(net_rx_buf, net_rx_buf + off, net_rx_buffered);
    } else if (net_rx_buffered == sizeof(net_rx_buf)) {
        printf("[TCP] Receive frame exceeds buffer; dropping stream\r\n");
        net_rx_buffered = 0;
    }
}
/* USER CODE END 4 */

void Error_Handler(void)
{
  __disable_irq();
  while (1)
  {
  }
}
